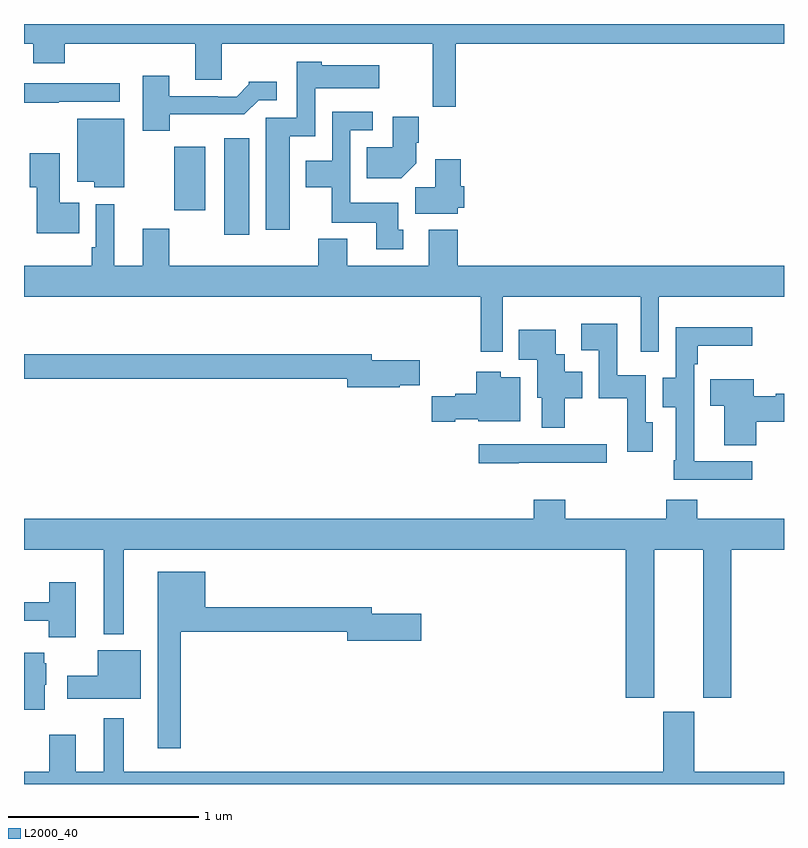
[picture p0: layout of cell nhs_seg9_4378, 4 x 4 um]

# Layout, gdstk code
import gdstk
lib = gdstk.Library(unit=1e-6, precision=1e-09)
def R(c, l, rs):  # rectangles x0, y0, x1, y1
    for r in rs: c.add(gdstk.rectangle(r[:2], r[2:], *l))
def P(c, l, *ps):  # polygons
    for p in ps: c.add(gdstk.Polygon(p, *l))
L2000_40 = (2000, 40)

nhs_seg9_4378 = lib.new_cell('nhs_seg9_4378')
R(nhs_seg9_4378, L2000_40, [(362.054,1219.392,362.185,1219.9)])
P(nhs_seg9_4378, L2000_40, [(363.272,1220.396),(365,1220.396),(365,1220.5),(361,1220.5),(361,1220.396),(361.049,1220.396),(361.049,1220.294),(361.214,1220.294),(361.214,1220.396),(361.901,1220.396),(361.901,1220.206),(362.041,1220.206),(362.041,1220.396),(363.151,1220.396),(363.151,1220.064),(363.272,1220.064)],
  [(362.398,1219.91),(362.532,1219.91),(362.532,1220.162),(362.869,1220.162),(362.869,1220.284),(362.568,1220.284),(362.568,1220.302),(362.436,1220.302),(362.436,1220.007),(362.273,1220.007),(362.273,1219.416),(362.398,1219.416)],
  [(361.768,1220.024),(362.159,1220.024),(362.235,1220.1),(362.329,1220.1),(362.329,1220.197),(362.184,1220.197),(362.184,1220.182),(362.12,1220.118),(362.021,1220.118),(362.021,1220.121),(361.765,1220.121),(361.765,1220.227),(361.625,1220.227),(361.625,1219.937),(361.768,1219.937)],
  [(361.184,1220.091),(361.504,1220.091),(361.504,1220.187),(361,1220.187),(361,1220.086),(361.184,1220.086)],
  [(362.995,1219.416),(362.971,1219.416),(362.971,1219.558),(362.718,1219.558),(362.718,1219.941),(362.836,1219.941),(362.836,1220.037),(362.622,1220.037),(362.622,1219.78),(362.483,1219.78),(362.483,1219.64),(362.62,1219.64),(362.62,1219.454),(362.855,1219.454),(362.855,1219.314),(362.995,1219.314)],
  [(363.064,1219.766),(363.064,1219.876),(363.077,1219.876),(363.077,1220.011),(362.942,1220.011),(362.942,1219.852),(362.803,1219.852),(362.803,1219.688),(362.986,1219.688)],
  [(361.528,1220.002),(361.28,1220.002),(361.28,1219.67),(361.37,1219.67),(361.37,1219.64),(361.528,1219.64)],
  [(361.954,1219.855),(361.792,1219.855),(361.792,1219.748),(361.79,1219.748),(361.79,1219.521),(361.954,1219.521)],
  [(361.292,1219.558),(361.189,1219.558),(361.189,1219.819),(361.031,1219.819),(361.031,1219.642),(361.067,1219.642),(361.067,1219.4),(361.292,1219.4)],
  [(363.282,1219.533),(363.317,1219.533),(363.317,1219.647),(363.299,1219.647),(363.299,1219.789),(363.164,1219.789),(363.164,1219.64),(363.059,1219.64),(363.059,1219.502),(363.282,1219.502)],
  [(363.519,1219.064),(364.245,1219.064),(364.245,1218.774),(364.341,1218.774),(364.341,1219.064),(365,1219.064),(365,1219.228),(363.284,1219.228),(363.284,1219.417),(363.131,1219.417),(363.131,1219.228),(362.701,1219.228),(362.701,1219.369),(362.549,1219.369),(362.549,1219.228),(361.765,1219.228),(361.765,1219.423),(361.625,1219.423),(361.625,1219.228),(361.474,1219.228),(361.474,1219.552),(361.377,1219.552),(361.377,1219.324),(361.357,1219.324),(361.357,1219.228),(361,1219.228),(361,1219.064),(363.403,1219.064),(363.403,1218.774),(363.519,1218.774)],
  [(364.309,1218.405),(364.272,1218.405),(364.272,1218.652),(364.122,1218.652),(364.122,1218.922),(363.933,1218.922),(363.933,1218.782),(364.026,1218.782),(364.026,1218.53),(364.174,1218.53),(364.174,1218.249),(364.309,1218.249)],
  [(364.834,1218.198),(364.528,1218.198),(364.528,1218.395),(364.527,1218.395),(364.527,1218.71),(364.547,1218.71),(364.547,1218.806),(364.834,1218.806),(364.834,1218.904),(364.431,1218.904),(364.431,1218.639),(364.361,1218.639),(364.361,1218.484),(364.431,1218.484),(364.431,1218.205),(364.419,1218.205),(364.419,1218.102),(364.834,1218.102)],
  [(363.847,1218.53),(363.937,1218.53),(363.937,1218.67),(363.847,1218.67),(363.847,1218.763),(363.798,1218.763),(363.798,1218.892),(363.604,1218.892),(363.604,1218.734),(363.701,1218.734),(363.701,1218.534),(363.725,1218.534),(363.725,1218.375),(363.847,1218.375)],
  [(362.978,1218.599),(363.083,1218.599),(363.083,1218.729),(362.83,1218.729),(362.83,1218.763),(361,1218.763),(361,1218.634),(362.702,1218.634),(362.702,1218.587),(362.978,1218.587)],
  [(363.27,1218.419),(363.39,1218.419),(363.39,1218.41),(363.613,1218.41),(363.613,1218.64),(363.508,1218.64),(363.508,1218.67),(363.379,1218.67),(363.379,1218.554),(363.27,1218.554),(363.27,1218.541),(363.145,1218.541),(363.145,1218.407),(363.27,1218.407)],
  [(364.853,1218.407),(365,1218.407),(365,1218.554),(364.956,1218.554),(364.956,1218.541),(364.84,1218.541),(364.84,1218.631),(364.612,1218.631),(364.612,1218.491),(364.685,1218.491),(364.685,1218.283),(364.853,1218.283)],
  [(363.605,1218.191),(364.066,1218.191),(364.066,1218.288),(363.393,1218.288),(363.393,1218.187),(363.605,1218.187)],
  [(364.318,1217.732),(364.574,1217.732),(364.574,1216.953),(364.722,1216.953),(364.722,1217.732),(365,1217.732),(365,1217.896),(364.544,1217.896),(364.544,1217.995),(364.379,1217.995),(364.379,1217.896),(363.848,1217.896),(363.848,1217.995),(363.683,1217.995),(363.683,1217.896),(361,1217.896),(361,1217.732),(361.421,1217.732),(361.421,1217.288),(361.525,1217.288),(361.525,1217.732),(364.166,1217.732),(364.166,1216.953),(364.318,1216.953)],
  [(361.825,1217.302),(362.702,1217.302),(362.702,1217.255),(363.091,1217.255),(363.091,1217.397),(362.83,1217.397),(362.83,1217.431),(361.954,1217.431),(361.954,1217.617),(361.703,1217.617),(361.703,1216.689),(361.825,1216.689)],
  [(361.273,1217.563),(361.133,1217.563),(361.133,1217.457),(361,1217.457),(361,1217.36),(361.131,1217.36),(361.131,1217.273),(361.273,1217.273)],
  [(361.615,1217.203),(361.388,1217.203),(361.388,1217.071),(361.227,1217.071),(361.227,1216.949),(361.615,1216.949)],
  [(361.108,1217.022),(361.117,1217.022),(361.117,1217.136),(361.106,1217.136),(361.106,1217.191),(361,1217.191),(361,1216.89),(361.108,1216.89)],
  [(365,1216.564),(364.528,1216.564),(364.528,1216.881),(364.364,1216.881),(364.364,1216.564),(361.525,1216.564),(361.525,1216.846),(361.421,1216.846),(361.421,1216.564),(361.273,1216.564),(361.273,1216.759),(361.133,1216.759),(361.133,1216.564),(361,1216.564),(361,1216.5),(365,1216.5)])

lib.write_gds('nhs_seg9_4378.gds')
